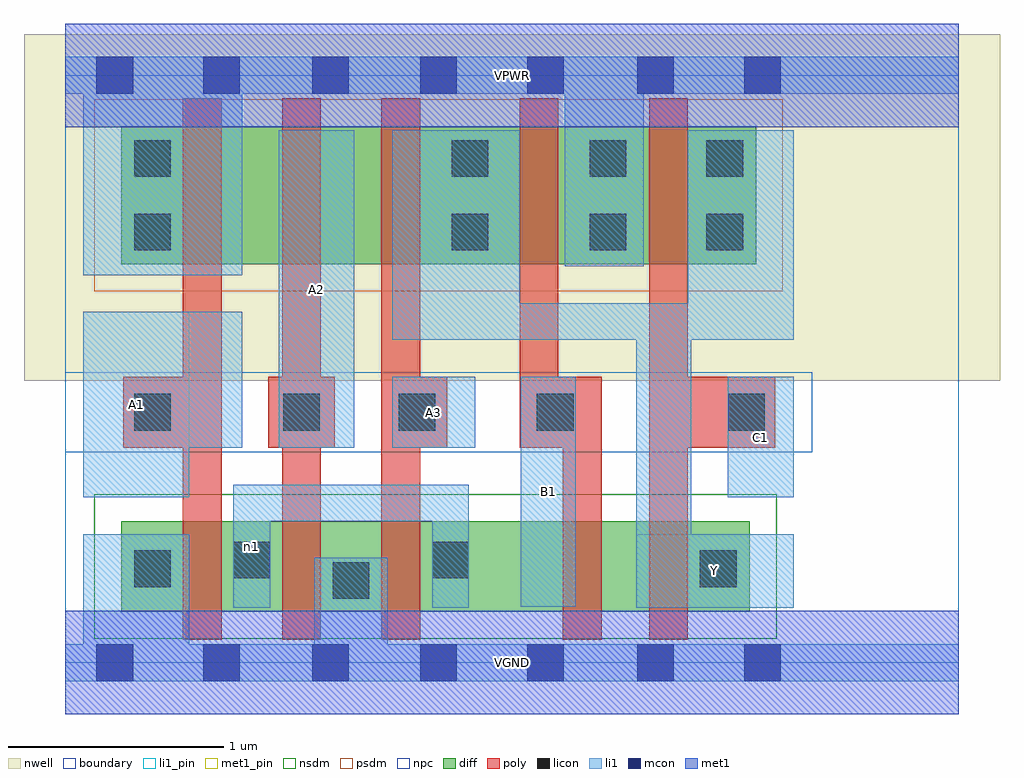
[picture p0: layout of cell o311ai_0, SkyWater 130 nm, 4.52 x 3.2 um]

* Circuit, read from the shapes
.subckt o311ai_0 A1 A2 A3 B1 C1 VGND VPWR Y n1
XM1 n1 A1 VGND VSUBS sky130_fd_pr__nfet_01v8 w=0.42 l=0.18
XM2 VGND A2 n1 VSUBS sky130_fd_pr__nfet_01v8 w=0.42 l=0.18
XM3 n1 A3 VGND VSUBS sky130_fd_pr__nfet_01v8 w=0.42 l=0.18
XM4 n2 B1 n1 VSUBS sky130_fd_pr__nfet_01v8 w=0.42 l=0.18
XM5 Y C1 n2 VSUBS sky130_fd_pr__nfet_01v8 w=0.42 l=0.18
XM6 n3 A1 VPWR n4 sky130_fd_pr__pfet_01v8 w=0.64 l=0.18
XM7 n5 A2 n3 n4 sky130_fd_pr__pfet_01v8 w=0.64 l=0.18
XM8 Y A3 n5 n4 sky130_fd_pr__pfet_01v8 w=0.64 l=0.18
XM9 VPWR B1 Y n4 sky130_fd_pr__pfet_01v8 w=0.64 l=0.18
XM10 Y C1 VPWR n4 sky130_fd_pr__pfet_01v8 w=0.64 l=0.18
.ends

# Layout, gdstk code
import gdstk
lib = gdstk.Library(unit=1e-6, precision=1e-09)
def R(c, l, rs):  # rectangles x0, y0, x1, y1
    for r in rs: c.add(gdstk.rectangle(r[:2], r[2:], *l))
def A(c, l, x, y, w, h, nx, ny, dx, dy):  # array of equal rectangles
    R(c, l, [(x+i*dx, y+j*dy, x+i*dx+w, y+j*dy+h) for i in range(nx) for j in range(ny)])
nwell = (64, 20)
diff = (65, 20)
poly = (66, 20)
licon = (66, 44)
li1_pin = (67, 16)
li1 = (67, 20)
mcon = (67, 44)
met1_pin = (68, 16)
met1 = (68, 20)
nsdm = (93, 44)
psdm = (94, 20)
npc = (95, 20)
boundary = (235, 4)

o311ai_0 = lib.new_cell('o311ai_0')
R(o311ai_0, nwell, [(-0.19,1.305,4.33,2.91), (0,1.305,4.14,2.91)])
R(o311ai_0, diff, [(0.26,0.235,3.17,0.655), (0.26,1.845,3.2,2.485)])
A(o311ai_0, poly, 0.545, 0.105, 0.18, 2.51, 3, 1, 0.46, 0)
R(o311ai_0, poly, [(2.305,0.105,2.485,1.325), (2.705,0.105,2.885,2.615), (0.27,0.995,0.725,1.325), (0.94,0.995,1.25,1.325), (1.465,0.995,1.77,1.325), (2.105,0.995,2.285,2.615), (2.105,0.995,2.485,1.325), (2.705,0.995,3.29,1.325)])
R(o311ai_0, licon, [(1.24,0.295,1.41,0.465), (0.32,0.35,0.49,0.52), (2.94,0.35,3.11,0.52), (0.78,0.39,0.95,0.56), (1.7,0.39,1.87,0.56), (0.32,1.075,0.49,1.245), (1.01,1.075,1.18,1.245), (1.545,1.075,1.715,1.245), (2.185,1.075,2.355,1.245), (3.07,1.075,3.24,1.245), (0.32,1.91,0.49,2.08), (1.79,1.91,1.96,2.08), (2.43,1.91,2.6,2.08), (2.97,1.91,3.14,2.08), (0.32,2.25,0.49,2.42), (1.79,2.25,1.96,2.42), (2.43,2.25,2.6,2.42), (2.97,2.25,3.14,2.42)])
R(o311ai_0, li1_pin, [(2.645,0.255,3.375,0.595), (2.11,0.26,2.365,1.325), (0.085,0.765,0.575,1.625), (3.07,0.765,3.375,1.325), (0.99,0.995,1.34,2.465), (1.515,0.995,1.9,1.325)])
R(o311ai_0, li1, [(0,-0.085,4.14,0.085), (0.085,-0.085,0.575,0.595), (1.155,-0.085,1.495,0.485), (0.78,0.255,0.95,0.825), (1.7,0.255,1.87,0.825), (2.645,0.255,2.9,1.665), (2.645,0.255,3.375,0.595), (2.11,0.26,2.365,1.325), (0.78,0.655,1.87,0.825), (0.085,0.765,0.575,1.625), (3.07,0.765,3.375,1.325), (0.085,0.995,0.82,1.625), (0.99,0.995,1.34,2.465), (1.515,0.995,1.9,1.325), (1.515,1.495,2.105,2.465), (1.515,1.495,3.375,1.665), (2.885,1.495,3.375,2.465), (0.085,1.795,0.82,2.805), (2.315,1.835,2.68,2.805), (0,2.635,4.14,2.805)])
R(o311ai_0, mcon, [(0.145,-0.085,0.315,0.085), (0.64,-0.085,0.81,0.085), (1.145,-0.085,1.315,0.085), (1.645,-0.085,1.815,0.085), (2.14,-0.085,2.31,0.085), (2.65,-0.085,2.82,0.085), (3.145,-0.085,3.315,0.085), (0.145,2.635,0.315,2.805), (0.64,2.635,0.81,2.805), (1.145,2.635,1.315,2.805), (1.645,2.635,1.815,2.805), (2.14,2.635,2.31,2.805), (2.65,2.635,2.82,2.805), (3.145,2.635,3.315,2.805)])
R(o311ai_0, met1_pin, [(0,-0.24,4.14,0.24), (0,2.48,4.14,2.96)])
R(o311ai_0, met1, [(0,-0.24,4.14,0.24), (0,2.48,4.14,2.96)])
R(o311ai_0, nsdm, [(0.135,0.11,3.295,0.78)])
R(o311ai_0, psdm, [(0.135,1.72,3.325,2.61)])
R(o311ai_0, npc, [(0,0.975,3.46,1.345)])
R(o311ai_0, boundary, [(0,0,4.14,2.72)])
o311ai_0.add(gdstk.Label('A1', (0.33,1.195), layer=67, texttype=5))
o311ai_0.add(gdstk.Label('A2', (1.165,1.73), layer=67, texttype=5))
o311ai_0.add(gdstk.Label('A3', (1.707,1.16), layer=67, texttype=5))
o311ai_0.add(gdstk.Label('B1', (2.237,0.792), layer=67, texttype=5))
o311ai_0.add(gdstk.Label('C1', (3.222,1.045), layer=67, texttype=5))
o311ai_0.add(gdstk.Label('Y', (3.01,0.425), layer=67, texttype=5))
o311ai_0.add(gdstk.Label('n1', (0.865,0.54), layer=67, texttype=5))
o311ai_0.add(gdstk.Label('VPWR', (2.07,2.72), layer=68, texttype=5))
o311ai_0.add(gdstk.Label('VGND', (2.07,0), layer=68, texttype=5))
o311ai_0.add(gdstk.Label('A1', (0.33,1.195), layer=67, texttype=16))
o311ai_0.add(gdstk.Label('A2', (1.165,1.73), layer=67, texttype=16))
o311ai_0.add(gdstk.Label('A3', (1.707,1.16), layer=67, texttype=16))
o311ai_0.add(gdstk.Label('B1', (2.237,0.792), layer=67, texttype=16))
o311ai_0.add(gdstk.Label('C1', (3.222,1.045), layer=67, texttype=16))
o311ai_0.add(gdstk.Label('Y', (3.01,0.425), layer=67, texttype=16))
o311ai_0.add(gdstk.Label('VPWR', (2.07,2.72), layer=68, texttype=16))
o311ai_0.add(gdstk.Label('VGND', (2.07,0), layer=68, texttype=16))

lib.write_gds('o311ai_0.gds')
